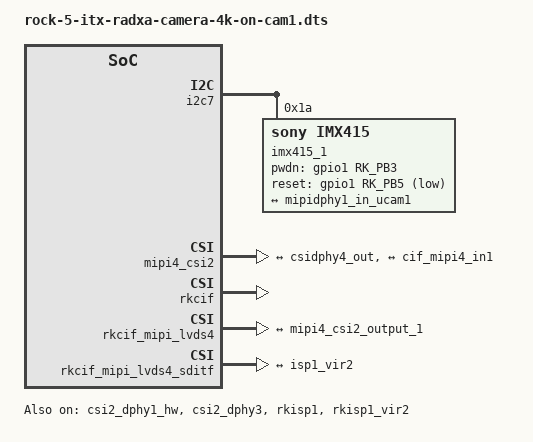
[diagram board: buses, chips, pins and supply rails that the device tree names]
/dts-v1/;
/plugin/;

#include <dt-bindings/clock/rk3588-cru.h>
#include <dt-bindings/power/rk3588-power.h>
#include <dt-bindings/gpio/gpio.h>
#include <dt-bindings/pinctrl/rockchip.h>

/ {
	metadata {
		title ="Enable Radxa Camera 4K on CAM1";
		compatible = "radxa,rock-5-itx";
		category = "camera";
		exclusive = "csi2_dphy3";
		description = "Enable Radxa Camera 4K on CAM1.";
	};

	fragment@0 {
		target = <&i2c7>;

		__overlay__ {
			status = "okay";
			#address-cells = <1>;
			#size-cells = <0>;

			imx415_1: imx415-1@1a {
				status = "okay";
				compatible = "sony,imx415";
				reg = <0x1a>;
				clocks = <&cru CLK_MIPI_CAMARAOUT_M4>;
				clock-names = "xvclk";
				pinctrl-names = "default";
				pinctrl-0 = <&mipim0_camera4_clk>;
				power-domains = <&power RK3588_PD_VI>;
				pwdn-gpios = <&gpio1 RK_PB3 GPIO_ACTIVE_HIGH>;
				reset-gpios = <&gpio1 RK_PB5 GPIO_ACTIVE_LOW>;
				rockchip,camera-module-index = <1>;
				rockchip,camera-module-facing = "front";
				rockchip,camera-module-name = "RADXA-CAMERA-4K";
				rockchip,camera-module-lens-name = "DEFAULT";
				port {
					imx415_out1: endpoint {
						remote-endpoint = <&mipidphy1_in_ucam1>;
						data-lanes = <1 2 3 4>;
					};
				};
			};
		};
	};

	fragment@1 {
		target = <&csi2_dphy1_hw>;

		__overlay__ {
			status = "okay";
		};
	};

	fragment@2 {
		/* dphy1 full mode */
		target = <&csi2_dphy3>;

		__overlay__ {
			status = "okay";

			ports {
				#address-cells = <1>;
				#size-cells = <0>;

				port@0 {
					reg = <0>;
					#address-cells = <1>;
					#size-cells = <0>;

					mipidphy1_in_ucam1: endpoint@1 {
						reg = <1>;
						remote-endpoint = <&imx415_out1>;
						data-lanes = <1 2 3 4>;
					};
				};

				port@1 {
					reg = <1>;
					#address-cells = <1>;
					#size-cells = <0>;

					csidphy4_out: endpoint@0 {
						reg = <0>;
						remote-endpoint = <&mipi4_csi2_input_1>;
					};
				};
			};
		};
	};

	fragment@3 {
		target = <&mipi4_csi2>;

		__overlay__ {
			status = "okay";

			ports {
				#address-cells = <1>;
				#size-cells = <0>;

				port@0 {
					reg = <0>;
					#address-cells = <1>;
					#size-cells = <0>;

					mipi4_csi2_input_1: endpoint@1 {
						reg = <1>;
						remote-endpoint = <&csidphy4_out>;
					};
				};

				port@1 {
					reg = <1>;
					#address-cells = <1>;
					#size-cells = <0>;

					mipi4_csi2_output_1: endpoint@0 {
						reg = <0>;
						remote-endpoint = <&cif_mipi4_in1>;
					};
				};
			};
		};
	};

	fragment@4 {
		target = <&rkcif>;

		__overlay__ {
			status = "okay";
		};
	};

	fragment@5 {
		target = <&rkcif_mipi_lvds4>;

		__overlay__ {
			status = "okay";

			port {
				cif_mipi4_in1: endpoint {
					remote-endpoint = <&mipi4_csi2_output_1>;
				};
			};
		};
	};

	fragment@6 {
		target = <&rkcif_mipi_lvds4_sditf>;

		__overlay__ {
			status = "okay";

			port {
				mipi4_lvds2_sditf_1: endpoint {
					remote-endpoint = <&isp1_vir2>;
				};
			};
		};
	};

	fragment@7 {
		target = <&rkcif_mmu>;

		__overlay__ {
			status = "okay";
		};
	};

	fragment@8 {
		target = <&isp1_mmu>;

		__overlay__ {
			status = "okay";
		};
	};

	fragment@9 {
		target = <&rkisp1>;

		__overlay__ {
			status = "okay";
		};
	};

	fragment@10 {
		target = <&rkisp1_vir2>;

		__overlay__ {
			status = "okay";

			port {
				#address-cells = <1>;
				#size-cells = <0>;

				isp1_vir2: endpoint@0 {
					reg = <0>;
					remote-endpoint = <&mipi4_lvds2_sditf_1>;
				};
			};
		};
	};
};

